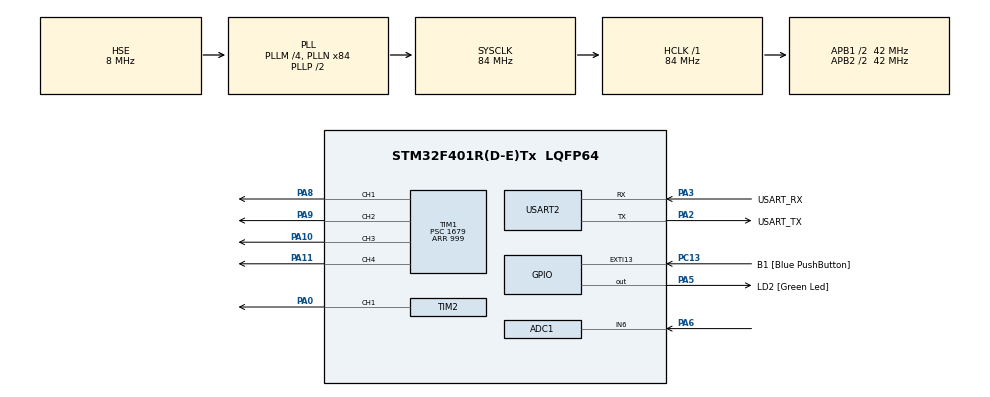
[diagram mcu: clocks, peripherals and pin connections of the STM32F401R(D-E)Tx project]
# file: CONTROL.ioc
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ADC1.Channel-0\#ChannelRegularConversion=ADC_CHANNEL_6
ADC1.NbrOfConversionFlag=1
ADC1.Rank-0\#ChannelRegularConversion=1
ADC1.SamplingTime-0\#ChannelRegularConversion=ADC_SAMPLETIME_3CYCLES
ADC1.master=1
Mcu.Family=STM32F4
Mcu.Name=STM32F401R(D-E)Tx
Mcu.Package=LQFP64
NVIC.PriorityGroup=NVIC_PRIORITYGROUP_0
NVIC.TIM1_BRK_TIM9_IRQn=true\:0\:0\:false\:false\:true\:true
NVIC.TIM1_CC_IRQn=true\:0\:0\:false\:false\:true\:true
NVIC.TIM1_TRG_COM_TIM11_IRQn=true\:0\:0\:false\:false\:true\:true
NVIC.TIM1_UP_TIM10_IRQn=true\:0\:0\:false\:false\:true\:true
NVIC.TIM2_IRQn=true\:0\:0\:false\:false\:true\:true
PA0-WKUP.GPIO_Speed=GPIO_SPEED_FREQ_VERY_HIGH
PA0-WKUP.Signal=S_TIM2_CH1_ETR
PA10.GPIO_Speed=GPIO_SPEED_FREQ_VERY_HIGH
PA10.Signal=S_TIM1_CH3
PA11.GPIO_Speed=GPIO_SPEED_FREQ_VERY_HIGH
PA11.Signal=S_TIM1_CH4
PA13.GPIO_Label=TMS
PA13.Mode=Serial_Wire
PA13.Signal=SYS_JTMS-SWDIO
PA14.GPIO_Label=TCK
PA14.Mode=Serial_Wire
PA14.Signal=SYS_JTCK-SWCLK
PA2.GPIO_Label=USART_TX
PA2.GPIO_Mode=GPIO_MODE_AF_PP
PA2.GPIO_PuPd=GPIO_NOPULL
PA2.GPIO_Speed=GPIO_SPEED_FREQ_LOW
PA2.Mode=Asynchronous
PA2.Signal=USART2_TX
PA3.GPIO_Label=USART_RX
PA3.GPIO_Mode=GPIO_MODE_AF_PP
PA3.GPIO_PuPd=GPIO_NOPULL
PA3.GPIO_Speed=GPIO_SPEED_FREQ_LOW
PA3.Mode=Asynchronous
PA3.Signal=USART2_RX
PA5.GPIO_Label=LD2 [Green Led]
PA5.GPIO_Mode=GPIO_MODE_OUTPUT_PP
PA5.GPIO_PuPd=GPIO_NOPULL
PA5.GPIO_Speed=GPIO_SPEED_FREQ_LOW
PA5.Signal=GPIO_Output
PA6.Signal=ADCx_IN6
PA8.GPIO_Speed=GPIO_SPEED_FREQ_VERY_HIGH
PA8.Signal=S_TIM1_CH1
PA9.GPIO_Speed=GPIO_SPEED_FREQ_VERY_HIGH
PA9.Signal=S_TIM1_CH2
PB3.GPIO_Label=SWO
PB3.Signal=SYS_JTDO-SWO
PC13-ANTI_TAMP.GPIO_Label=B1 [Blue PushButton]
PC13-ANTI_TAMP.GPIO_ModeDefaultEXTI=GPIO_MODE_IT_FALLING
PC13-ANTI_TAMP.GPIO_PuPd=GPIO_NOPULL
PC13-ANTI_TAMP.Signal=GPXTI13
PC14-OSC32_IN.Mode=LSE-External-Oscillator
PC14-OSC32_IN.Signal=RCC_OSC32_IN
PC15-OSC32_OUT.Mode=LSE-External-Oscillator
PC15-OSC32_OUT.Signal=RCC_OSC32_OUT
PH0\ -\ OSC_IN.Mode=HSE-External-Clock-Source
PH0\ -\ OSC_IN.Signal=RCC_OSC_IN
PH1\ -\ OSC_OUT.Mode=HSE-External-Clock-Source
PH1\ -\ OSC_OUT.Signal=RCC_OSC_OUT
ProjectManager.HeapSize=0x200
ProjectManager.StackSize=0x400
ProjectManager.TargetToolchain=MDK-ARM V5
RCC.48MHZClocksFreq_Value=24000000
RCC.AHBFreq_Value=84000000
RCC.APB1CLKDivider=RCC_HCLK_DIV2
RCC.APB1Freq_Value=42000000
RCC.APB1TimFreq_Value=84000000
RCC.APB2CLKDivider=RCC_HCLK_DIV2
RCC.APB2Freq_Value=42000000
RCC.APB2TimFreq_Value=84000000
RCC.CortexFreq_Value=84000000
RCC.HCLKFreq_Value=84000000
RCC.HSE_VALUE=8000000
RCC.HSI_VALUE=16000000
RCC.PLLM=4
RCC.PLLN=84
RCC.PLLQ=7
RCC.PLLSourceVirtual=RCC_PLLSOURCE_HSE
RCC.SYSCLKFreq_VALUE=84000000
RCC.SYSCLKSource=RCC_SYSCLKSOURCE_PLLCLK
RCC.VCOOutputFreq_Value=168000000
SH.ADCx_IN6.0=ADC1_IN6,IN6
SH.S_TIM1_CH1.0=TIM1_CH1,PWM Generation1 CH1
SH.S_TIM1_CH2.0=TIM1_CH2,PWM Generation2 CH2
SH.S_TIM1_CH3.0=TIM1_CH3,Output Compare3 CH3
SH.S_TIM1_CH4.0=TIM1_CH4,Output Compare4 CH4
SH.S_TIM2_CH1_ETR.0=TIM2_CH1,PWM Generation1 CH1
TIM1.Channel-Output\ Compare3\ CH3=TIM_CHANNEL_3
TIM1.Channel-Output\ Compare4\ CH4=TIM_CHANNEL_4
TIM1.Channel-PWM\ Generation1\ CH1=TIM_CHANNEL_1
TIM1.Channel-PWM\ Generation2\ CH2=TIM_CHANNEL_2
TIM1.Period=999
TIM1.Prescaler=1679
TIM2.Channel-PWM\ Generation1\ CH1=TIM_CHANNEL_1
TIM2.Period=999
TIM2.Prescaler=1679
USART2.VirtualMode=VM_ASYNC
VP_TIM1_VS_ClockSourceINT.Mode=Internal
VP_TIM2_VS_ClockSourceINT.Mode=Internal
board=NUCLEO-F401RE

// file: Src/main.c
/* USER CODE BEGIN Header */
/**
  ******************************************************************************
  * @file           : main.c
  * @brief          : Main program body
  ******************************************************************************
  ** This notice applies to any and all portions of this file
  * that are not between comment pairs USER CODE BEGIN and
  * USER CODE END. Other portions of this file, whether
  * inserted by the user or by software development tools
  * are owned by their respective copyright owners.
  *
  * COPYRIGHT(c) 2018 STMicroelectronics
  *
  * Redistribution and use in source and binary forms, with or without modification,
  * are permitted provided that the following conditions are met:
  *   1. Redistributions of source code must retain the above copyright notice,
  *      this list of conditions and the following disclaimer.
  *   2. Redistributions in binary form must reproduce the above copyright notice,
  *      this list of conditions and the following disclaimer in the documentation
  *      and/or other materials provided with the distribution.
  *   3. Neither the name of STMicroelectronics nor the names of its contributors
  *      may be used to endorse or promote products derived from this software
  *      without specific prior written permission.
  *
  * THIS SOFTWARE IS PROVIDED BY THE COPYRIGHT HOLDERS AND CONTRIBUTORS "AS IS"
  * AND ANY EXPRESS OR IMPLIED WARRANTIES, INCLUDING, BUT NOT LIMITED TO, THE
  * IMPLIED WARRANTIES OF MERCHANTABILITY AND FITNESS FOR A PARTICULAR PURPOSE ARE
  * DISCLAIMED. IN NO EVENT SHALL THE COPYRIGHT HOLDER OR CONTRIBUTORS BE LIABLE
  * FOR ANY DIRECT, INDIRECT, INCIDENTAL, SPECIAL, EXEMPLARY, OR CONSEQUENTIAL
  * DAMAGES (INCLUDING, BUT NOT LIMITED TO, PROCUREMENT OF SUBSTITUTE GOODS OR
  * SERVICES; LOSS OF USE, DATA, OR PROFITS; OR BUSINESS INTERRUPTION) HOWEVER
  * CAUSED AND ON ANY THEORY OF LIABILITY, WHETHER IN CONTRACT, STRICT LIABILITY,
  * OR TORT (INCLUDING NEGLIGENCE OR OTHERWISE) ARISING IN ANY WAY OUT OF THE USE
  * OF THIS SOFTWARE, EVEN IF ADVISED OF THE POSSIBILITY OF SUCH DAMAGE.
  *
  ******************************************************************************
  */
/* USER CODE END Header */

#include "main.h"

/* USER CODE BEGIN Includes */
#include "servo.h"
#include "motorController.h"
#include <stdlib.h>
//#include "motorController.h"

/* USER CODE END Includes */

ADC_HandleTypeDef hadc1;

TIM_HandleTypeDef htim1;
TIM_HandleTypeDef htim2;

UART_HandleTypeDef huart2;

void SystemClock_Config(void);
static void MX_GPIO_Init(void);
static void MX_USART2_UART_Init(void);
static void MX_TIM2_Init(void);
static void MX_ADC1_Init(void);
static void MX_TIM1_Init(void);

/* USER CODE BEGIN 0 */
static inline uint16_t stream2int(const uint8_t *stream);
/* USER CODE END 0 */

int main(void)
{

  /* MCU Configuration--------------------------------------------------------*/

  /* Reset of all peripherals, Initializes the Flash interface and the Systick. */
  HAL_Init();

  /* Configure the system clock */
  SystemClock_Config();

  /* Initialize all configured peripherals */
  MX_GPIO_Init();
  MX_USART2_UART_Init();
  MX_TIM2_Init();
  MX_ADC1_Init();
  MX_TIM1_Init();
  /* USER CODE BEGIN 2 */
	uint8_t Data[32];
	uint8_t dataAngle[32];
	int angle=0;
	float angle1=0;

	HAL_TIM_PWM_Start(&htim2,TIM_CHANNEL_1);
	HAL_TIM_PWM_Start(&htim1,TIM_CHANNEL_1|TIM_CHANNEL_2|TIM_CHANNEL_3|TIM_CHANNEL_4);

  /* USER CODE END 2 */

  /* Infinite loop */
  /* USER CODE BEGIN WHILE */

  while (1)
  {
				//angle1=SetServoAngle(100 ,&hadc1,&htim2 );
				//HAL_ADC_Start(&hadc1);
				//HAL_ADC_PollForConversion(&hadc1,100);
				//int adcValue1=HAL_ADC_GetValue(&hadc1);
				//HAL_ADC_Stop(&hadc1);

				if(__HAL_UART_GET_FLAG(&huart2, UART_FLAG_RXNE))
			{
				HAL_UART_Receive( &huart2, dataAngle,  sizeof(dataAngle), 1000 );

				//HAL_UART_Transmit( &huart2, dataAngle, sizeof(dataAngle), 1000 );
				angle1=SetServoAngle(atoi((char*)dataAngle) ,&hadc1,&htim2 );

			}
			angle1=GetServoAngle(&hadc1);

			int size=sprintf( (char *)Data,"\r\n%.02f",angle1 );
			HAL_UART_Transmit( &huart2, Data, size, 500 );

    /* USER CODE END WHILE */

  }
}

void SystemClock_Config(void)
{
  RCC_OscInitTypeDef RCC_OscInitStruct = {0};
  RCC_ClkInitTypeDef RCC_ClkInitStruct = {0};

  /**Configure the main internal regulator output voltage
  */
  __HAL_RCC_PWR_CLK_ENABLE();
  __HAL_PWR_VOLTAGESCALING_CONFIG(PWR_REGULATOR_VOLTAGE_SCALE2);
  /**Initializes the CPU, AHB and APB busses clocks
  */
  RCC_OscInitStruct.OscillatorType = RCC_OSCILLATORTYPE_HSE;
  RCC_OscInitStruct.HSEState = RCC_HSE_BYPASS;
  RCC_OscInitStruct.PLL.PLLState = RCC_PLL_ON;
  RCC_OscInitStruct.PLL.PLLSource = RCC_PLLSOURCE_HSE;
  RCC_OscInitStruct.PLL.PLLM = 4;
  RCC_OscInitStruct.PLL.PLLN = 84;
  RCC_OscInitStruct.PLL.PLLP = RCC_PLLP_DIV2;
  RCC_OscInitStruct.PLL.PLLQ = 7;
  if (HAL_RCC_OscConfig(&RCC_OscInitStruct) != HAL_OK)
  {
    Error_Handler();
  }
  /**Initializes the CPU, AHB and APB busses clocks
  */
  RCC_ClkInitStruct.ClockType = RCC_CLOCKTYPE_HCLK|RCC_CLOCKTYPE_SYSCLK
                              |RCC_CLOCKTYPE_PCLK1|RCC_CLOCKTYPE_PCLK2;
  RCC_ClkInitStruct.SYSCLKSource = RCC_SYSCLKSOURCE_PLLCLK;
  RCC_ClkInitStruct.AHBCLKDivider = RCC_SYSCLK_DIV1;
  RCC_ClkInitStruct.APB1CLKDivider = RCC_HCLK_DIV2;
  RCC_ClkInitStruct.APB2CLKDivider = RCC_HCLK_DIV2;

  if (HAL_RCC_ClockConfig(&RCC_ClkInitStruct, FLASH_LATENCY_2) != HAL_OK)
  {
    Error_Handler();
  }
}

static void MX_ADC1_Init(void)
{

  ADC_ChannelConfTypeDef sConfig = {0};

  /**Configure the global features of the ADC (Clock, Resolution, Data Alignment and number of conversion)
  */
  hadc1.Instance = ADC1;
  hadc1.Init.ClockPrescaler = ADC_CLOCK_SYNC_PCLK_DIV2;
  hadc1.Init.Resolution = ADC_RESOLUTION_12B;
  hadc1.Init.ScanConvMode = DISABLE;
  hadc1.Init.ContinuousConvMode = DISABLE;
  hadc1.Init.DiscontinuousConvMode = DISABLE;
  hadc1.Init.ExternalTrigConvEdge = ADC_EXTERNALTRIGCONVEDGE_NONE;
  hadc1.Init.ExternalTrigConv = ADC_SOFTWARE_START;
  hadc1.Init.DataAlign = ADC_DATAALIGN_RIGHT;
  hadc1.Init.NbrOfConversion = 1;
  hadc1.Init.DMAContinuousRequests = DISABLE;
  hadc1.Init.EOCSelection = ADC_EOC_SINGLE_CONV;
  if (HAL_ADC_Init(&hadc1) != HAL_OK)
  {
    Error_Handler();
  }
  /**Configure for the selected ADC regular channel its corresponding rank in the sequencer and its sample time.
  */
  sConfig.Channel = ADC_CHANNEL_6;
  sConfig.Rank = 1;
  sConfig.SamplingTime = ADC_SAMPLETIME_3CYCLES;
  if (HAL_ADC_ConfigChannel(&hadc1, &sConfig) != HAL_OK)
  {
    Error_Handler();
  }

}

static void MX_TIM1_Init(void)
{

  TIM_ClockConfigTypeDef sClockSourceConfig = {0};
  TIM_MasterConfigTypeDef sMasterConfig = {0};
  TIM_OC_InitTypeDef sConfigOC = {0};
  TIM_BreakDeadTimeConfigTypeDef sBreakDeadTimeConfig = {0};

  htim1.Instance = TIM1;
  htim1.Init.Prescaler = 1679;
  htim1.Init.CounterMode = TIM_COUNTERMODE_UP;
  htim1.Init.Period = 999;
  htim1.Init.ClockDivision = TIM_CLOCKDIVISION_DIV1;
  htim1.Init.RepetitionCounter = 0;
  if (HAL_TIM_Base_Init(&htim1) != HAL_OK)
  {
    Error_Handler();
  }
  sClockSourceConfig.ClockSource = TIM_CLOCKSOURCE_INTERNAL;
  if (HAL_TIM_ConfigClockSource(&htim1, &sClockSourceConfig) != HAL_OK)
  {
    Error_Handler();
  }
  if (HAL_TIM_PWM_Init(&htim1) != HAL_OK)
  {
    Error_Handler();
  }
  if (HAL_TIM_OC_Init(&htim1) != HAL_OK)
  {
    Error_Handler();
  }
  sMasterConfig.MasterOutputTrigger = TIM_TRGO_RESET;
  sMasterConfig.MasterSlaveMode = TIM_MASTERSLAVEMODE_DISABLE;
  if (HAL_TIMEx_MasterConfigSynchronization(&htim1, &sMasterConfig) != HAL_OK)
  {
    Error_Handler();
  }
  sConfigOC.OCMode = TIM_OCMODE_PWM1;
  sConfigOC.Pulse = 0;
  sConfigOC.OCPolarity = TIM_OCPOLARITY_HIGH;
  sConfigOC.OCNPolarity = TIM_OCNPOLARITY_HIGH;
  sConfigOC.OCFastMode = TIM_OCFAST_DISABLE;
  sConfigOC.OCIdleState = TIM_OCIDLESTATE_RESET;
  sConfigOC.OCNIdleState = TIM_OCNIDLESTATE_RESET;
  if (HAL_TIM_PWM_ConfigChannel(&htim1, &sConfigOC, TIM_CHANNEL_1) != HAL_OK)
  {
    Error_Handler();
  }
  if (HAL_TIM_PWM_ConfigChannel(&htim1, &sConfigOC, TIM_CHANNEL_2) != HAL_OK)
  {
    Error_Handler();
  }
  sConfigOC.OCMode = TIM_OCMODE_TIMING;
  if (HAL_TIM_OC_ConfigChannel(&htim1, &sConfigOC, TIM_CHANNEL_3) != HAL_OK)
  {
    Error_Handler();
  }
  if (HAL_TIM_OC_ConfigChannel(&htim1, &sConfigOC, TIM_CHANNEL_4) != HAL_OK)
  {
    Error_Handler();
  }
  sBreakDeadTimeConfig.OffStateRunMode = TIM_OSSR_DISABLE;
  sBreakDeadTimeConfig.OffStateIDLEMode = TIM_OSSI_DISABLE;
  sBreakDeadTimeConfig.LockLevel = TIM_LOCKLEVEL_OFF;
  sBreakDeadTimeConfig.DeadTime = 0;
  sBreakDeadTimeConfig.BreakState = TIM_BREAK_DISABLE;
  sBreakDeadTimeConfig.BreakPolarity = TIM_BREAKPOLARITY_HIGH;
  sBreakDeadTimeConfig.AutomaticOutput = TIM_AUTOMATICOUTPUT_DISABLE;
  if (HAL_TIMEx_ConfigBreakDeadTime(&htim1, &sBreakDeadTimeConfig) != HAL_OK)
  {
    Error_Handler();
  }
  HAL_TIM_MspPostInit(&htim1);

}

static void MX_TIM2_Init(void)
{

  TIM_ClockConfigTypeDef sClockSourceConfig = {0};
  TIM_MasterConfigTypeDef sMasterConfig = {0};
  TIM_OC_InitTypeDef sConfigOC = {0};

  htim2.Instance = TIM2;
  htim2.Init.Prescaler = 1679;
  htim2.Init.CounterMode = TIM_COUNTERMODE_UP;
  htim2.Init.Period = 999;
  htim2.Init.ClockDivision = TIM_CLOCKDIVISION_DIV1;
  if (HAL_TIM_Base_Init(&htim2) != HAL_OK)
  {
    Error_Handler();
  }
  sClockSourceConfig.ClockSource = TIM_CLOCKSOURCE_INTERNAL;
  if (HAL_TIM_ConfigClockSource(&htim2, &sClockSourceConfig) != HAL_OK)
  {
    Error_Handler();
  }
  if (HAL_TIM_PWM_Init(&htim2) != HAL_OK)
  {
    Error_Handler();
  }
  sMasterConfig.MasterOutputTrigger = TIM_TRGO_RESET;
  sMasterConfig.MasterSlaveMode = TIM_MASTERSLAVEMODE_DISABLE;
  if (HAL_TIMEx_MasterConfigSynchronization(&htim2, &sMasterConfig) != HAL_OK)
  {
    Error_Handler();
  }
  sConfigOC.OCMode = TIM_OCMODE_PWM1;
  sConfigOC.Pulse = 0;
  sConfigOC.OCPolarity = TIM_OCPOLARITY_HIGH;
  sConfigOC.OCFastMode = TIM_OCFAST_DISABLE;
  if (HAL_TIM_PWM_ConfigChannel(&htim2, &sConfigOC, TIM_CHANNEL_1) != HAL_OK)
  {
    Error_Handler();
  }
  HAL_TIM_MspPostInit(&htim2);

}

static void MX_USART2_UART_Init(void)
{

  huart2.Instance = USART2;
  huart2.Init.BaudRate = 115200;
  huart2.Init.WordLength = UART_WORDLENGTH_8B;
  huart2.Init.StopBits = UART_STOPBITS_1;
  huart2.Init.Parity = UART_PARITY_NONE;
  huart2.Init.Mode = UART_MODE_TX_RX;
  huart2.Init.HwFlowCtl = UART_HWCONTROL_NONE;
  huart2.Init.OverSampling = UART_OVERSAMPLING_16;
  if (HAL_UART_Init(&huart2) != HAL_OK)
  {
    Error_Handler();
  }

}

static void MX_GPIO_Init(void)
{
  GPIO_InitTypeDef GPIO_InitStruct = {0};

  /* GPIO Ports Clock Enable */
  __HAL_RCC_GPIOC_CLK_ENABLE();
  __HAL_RCC_GPIOH_CLK_ENABLE();
  __HAL_RCC_GPIOA_CLK_ENABLE();
  __HAL_RCC_GPIOB_CLK_ENABLE();

  /*Configure GPIO pin Output Level */
  HAL_GPIO_WritePin(LD2_GPIO_Port, LD2_Pin, GPIO_PIN_RESET);

  /*Configure GPIO pin : B1_Pin */
  GPIO_InitStruct.Pin = B1_Pin;
  GPIO_InitStruct.Mode = GPIO_MODE_IT_FALLING;
  GPIO_InitStruct.Pull = GPIO_NOPULL;
  HAL_GPIO_Init(B1_GPIO_Port, &GPIO_InitStruct);

  /*Configure GPIO pin : LD2_Pin */
  GPIO_InitStruct.Pin = LD2_Pin;
  GPIO_InitStruct.Mode = GPIO_MODE_OUTPUT_PP;
  GPIO_InitStruct.Pull = GPIO_NOPULL;
  GPIO_InitStruct.Speed = GPIO_SPEED_FREQ_LOW;
  HAL_GPIO_Init(LD2_GPIO_Port, &GPIO_InitStruct);

}

/* USER CODE BEGIN 4 */
static inline uint16_t stream2int(const uint8_t *stream)
	{

    return (((uint16_t) stream[0]) << 24 |
            ((uint16_t) stream[1]) << 16 |
            ((uint16_t) stream[2]) <<  8 |
            ((uint16_t) stream[3]) <<  0);
}

/* USER CODE END 4 */

void Error_Handler(void)
{
}

/************************ (C) COPYRIGHT STMicroelectronics *****END OF FILE****/
